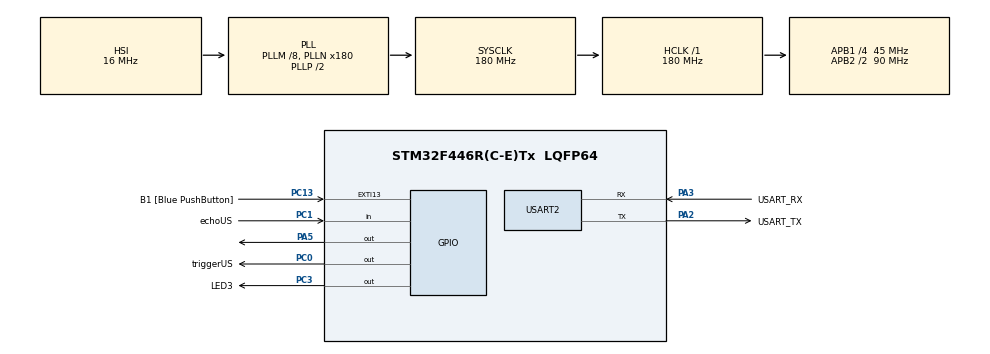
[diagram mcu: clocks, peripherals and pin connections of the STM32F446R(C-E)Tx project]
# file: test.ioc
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Mcu.Family=STM32F4
Mcu.Name=STM32F446R(C-E)Tx
Mcu.Package=LQFP64
NVIC.EXTI15_10_IRQn=true\:0\:4\:false\:false\:true\:true
NVIC.PriorityGroup=NVIC_PRIORITYGROUP_0
NVIC.USART2_IRQn=true\:0\:5\:false\:false\:true\:true
PA13.GPIO_Label=TMS
PA13.Mode=Serial_Wire
PA13.Signal=SYS_JTMS-SWDIO
PA14.GPIO_Label=TCK
PA14.Mode=Serial_Wire
PA14.Signal=SYS_JTCK-SWCLK
PA2.GPIO_Label=USART_TX
PA2.Mode=Asynchronous
PA2.Signal=USART2_TX
PA3.GPIO_Label=USART_RX
PA3.Mode=Asynchronous
PA3.Signal=USART2_RX
PA5.Signal=GPIO_Output
PB3.GPIO_Label=SWO
PB3.Signal=SYS_JTDO-SWO
PC0.GPIO_Label=triggerUS
PC0.Signal=GPIO_Output
PC1.GPIO_Label=echoUS
PC1.Signal=GPIO_Input
PC13.GPIO_Label=B1 [Blue PushButton]
PC13.GPIO_ModeDefaultEXTI=GPIO_MODE_IT_FALLING
PC13.Signal=GPXTI13
PC14-OSC32_IN.Mode=LSE-External-Oscillator
PC14-OSC32_IN.Signal=RCC_OSC32_IN
PC15-OSC32_OUT.Mode=LSE-External-Oscillator
PC15-OSC32_OUT.Signal=RCC_OSC32_OUT
PC3.GPIO_Label=LED3
PC3.Signal=GPIO_Output
PH0-OSC_IN.Mode=HSE-External-Oscillator
PH0-OSC_IN.Signal=RCC_OSC_IN
PH1-OSC_OUT.Mode=HSE-External-Oscillator
PH1-OSC_OUT.Signal=RCC_OSC_OUT
ProjectManager.HeapSize=0x200
ProjectManager.StackSize=0x400
ProjectManager.TargetToolchain=SW4STM32
RCC.48MHZClocksFreq_Value=84000000
RCC.AHBFreq_Value=180000000
RCC.APB1CLKDivider=RCC_HCLK_DIV4
RCC.APB1Freq_Value=45000000
RCC.APB1TimFreq_Value=90000000
RCC.APB2CLKDivider=RCC_HCLK_DIV2
RCC.APB2Freq_Value=90000000
RCC.APB2TimFreq_Value=180000000
RCC.CortexFreq_Value=180000000
RCC.FLatency-AdvancedSettings=FLASH_LATENCY_5
RCC.HCLKFreq_Value=180000000
RCC.HSE_VALUE=8000000
RCC.HSI_VALUE=16000000
RCC.PLLM=8
RCC.PLLN=180
RCC.SYSCLKFreq_VALUE=180000000
RCC.SYSCLKSource=RCC_SYSCLKSOURCE_PLLCLK
RCC.USBFreq_Value=180000000
RCC.VCOOutputFreq_Value=360000000
TIM2.Period=199
TIM2.Prescaler=90
USART2.VirtualMode=VM_ASYNC
VP_TIM2_VS_ClockSourceINT.Mode=Internal
board=NUCLEO-F446RE

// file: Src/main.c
/**
 ******************************************************************************
 * @file           : main.c
 * @brief          : Main program body
 ******************************************************************************
 ** This notice applies to any and all portions of this file
 * that are not between comment pairs USER CODE BEGIN and
 * USER CODE END. Other portions of this file, whether
 * inserted by the user or by software development tools
 * are owned by their respective copyright owners.
 *
 * COPYRIGHT(c) 2018 STMicroelectronics
 *
 * Redistribution and use in source and binary forms, with or without modification,
 * are permitted provided that the following conditions are met:
 *   1. Redistributions of source code must retain the above copyright notice,
 *      this list of conditions and the following disclaimer.
 *   2. Redistributions in binary form must reproduce the above copyright notice,
 *      this list of conditions and the following disclaimer in the documentation
 *      and/or other materials provided with the distribution.
 *   3. Neither the name of STMicroelectronics nor the names of its contributors
 *      may be used to endorse or promote products derived from this software
 *      without specific prior written permission.
 *
 * THIS SOFTWARE IS PROVIDED BY THE COPYRIGHT HOLDERS AND CONTRIBUTORS "AS IS"
 * AND ANY EXPRESS OR IMPLIED WARRANTIES, INCLUDING, BUT NOT LIMITED TO, THE
 * IMPLIED WARRANTIES OF MERCHANTABILITY AND FITNESS FOR A PARTICULAR PURPOSE ARE
 * DISCLAIMED. IN NO EVENT SHALL THE COPYRIGHT HOLDER OR CONTRIBUTORS BE LIABLE
 * FOR ANY DIRECT, INDIRECT, INCIDENTAL, SPECIAL, EXEMPLARY, OR CONSEQUENTIAL
 * DAMAGES (INCLUDING, BUT NOT LIMITED TO, PROCUREMENT OF SUBSTITUTE GOODS OR
 * SERVICES; LOSS OF USE, DATA, OR PROFITS; OR BUSINESS INTERRUPTION) HOWEVER
 * CAUSED AND ON ANY THEORY OF LIABILITY, WHETHER IN CONTRACT, STRICT LIABILITY,
 * OR TORT (INCLUDING NEGLIGENCE OR OTHERWISE) ARISING IN ANY WAY OUT OF THE USE
 * OF THIS SOFTWARE, EVEN IF ADVISED OF THE POSSIBILITY OF SUCH DAMAGE.
 *
 ******************************************************************************
 */
#include "main.h"
#include "stm32f4xx_hal.h"

TIM_HandleTypeDef htim2;

UART_HandleTypeDef huart2;
uint32_t timerValue;
uint32_t pulseWidth;
char buff[30];

/* USER CODE BEGIN PV */
/* Private variables ---------------------------------------------------------*/

/* USER CODE END PV */

void SystemClock_Config(void);
static void MX_GPIO_Init(void);
static void MX_USART2_UART_Init(void);
static void MX_TIM2_Init(void);

/* USER CODE BEGIN PFP */
/* Private function prototypes -----------------------------------------------*/

/* USER CODE END PFP */

int main(void)
{

	/* MCU Configuration----------------------------------------------------------*/

	/* Reset of all peripherals, Initializes the Flash interface and the Systick. */
	HAL_Init();

	/* Configure the system clock */
	SystemClock_Config();

	/* Initialize all configured peripherals */
	MX_GPIO_Init();
	MX_USART2_UART_Init();
	MX_TIM2_Init();
	/* USER CODE BEGIN 2 */
	HAL_GPIO_WritePin(triggerUS_GPIO_Port,triggerUS_Pin,GPIO_PIN_RESET);

	/* USER CODE END 2 */

	/* Infinite loop */
	/* USER CODE BEGIN WHILE */
	while (1)
	{

		//berikan trigger
		__HAL_TIM_SetCounter(&htim2,0);
		HAL_TIM_Base_Start(&htim2);
		HAL_GPIO_WritePin(triggerUS_GPIO_Port,triggerUS_Pin,GPIO_PIN_SET);
		while (__HAL_TIM_GetCounter(&htim2)<20);
		HAL_TIM_Base_Stop(&htim2);
		HAL_GPIO_WritePin(triggerUS_GPIO_Port,triggerUS_Pin,GPIO_PIN_RESET);

		while (!HAL_GPIO_ReadPin(echoUS_GPIO_Port,echoUS_Pin));
		__HAL_TIM_SetCounter(&htim2,0);
		HAL_TIM_Base_Start(&htim2);
		while (HAL_GPIO_ReadPin(echoUS_GPIO_Port,echoUS_Pin));
		HAL_TIM_Base_Stop(&htim2);
		pulseWidth=__HAL_TIM_GET_COUNTER(&htim2);
		pulseWidth= pulseWidth/58;
		sprintf(buff,"Distance : %d \n\r",(uint16_t)pulseWidth);
		HAL_UART_Transmit(&huart2,(uint8_t*)buff,sizeof(buff),1000);
		HAL_Delay(2000);
		/* USER CODE END WHILE */

	}

}

void SystemClock_Config(void)
{

	RCC_OscInitTypeDef RCC_OscInitStruct;
	RCC_ClkInitTypeDef RCC_ClkInitStruct;

	/**Configure the main internal regulator output voltage
	 */
	__HAL_RCC_PWR_CLK_ENABLE();

	__HAL_PWR_VOLTAGESCALING_CONFIG(PWR_REGULATOR_VOLTAGE_SCALE1);

	/**Initializes the CPU, AHB and APB busses clocks
	 */
	RCC_OscInitStruct.OscillatorType = RCC_OSCILLATORTYPE_HSI;
	RCC_OscInitStruct.HSIState = RCC_HSI_ON;
	RCC_OscInitStruct.HSICalibrationValue = 16;
	RCC_OscInitStruct.PLL.PLLState = RCC_PLL_ON;
	RCC_OscInitStruct.PLL.PLLSource = RCC_PLLSOURCE_HSI;
	RCC_OscInitStruct.PLL.PLLM = 8;
	RCC_OscInitStruct.PLL.PLLN = 180;
	RCC_OscInitStruct.PLL.PLLP = RCC_PLLP_DIV2;
	RCC_OscInitStruct.PLL.PLLQ = 2;
	RCC_OscInitStruct.PLL.PLLR = 2;
	if (HAL_RCC_OscConfig(&RCC_OscInitStruct) != HAL_OK)
	{
		_Error_Handler(__FILE__, __LINE__);
	}

	/**Activate the Over-Drive mode
	 */
	if (HAL_PWREx_EnableOverDrive() != HAL_OK)
	{
		_Error_Handler(__FILE__, __LINE__);
	}

	/**Initializes the CPU, AHB and APB busses clocks
	 */
	RCC_ClkInitStruct.ClockType = RCC_CLOCKTYPE_HCLK|RCC_CLOCKTYPE_SYSCLK
			|RCC_CLOCKTYPE_PCLK1|RCC_CLOCKTYPE_PCLK2;
	RCC_ClkInitStruct.SYSCLKSource = RCC_SYSCLKSOURCE_PLLCLK;
	RCC_ClkInitStruct.AHBCLKDivider = RCC_SYSCLK_DIV1;
	RCC_ClkInitStruct.APB1CLKDivider = RCC_HCLK_DIV4;
	RCC_ClkInitStruct.APB2CLKDivider = RCC_HCLK_DIV2;

	if (HAL_RCC_ClockConfig(&RCC_ClkInitStruct, FLASH_LATENCY_5) != HAL_OK)
	{
		_Error_Handler(__FILE__, __LINE__);
	}

	/**Configure the Systick interrupt time
	 */
	HAL_SYSTICK_Config(HAL_RCC_GetHCLKFreq()/1000);

	/**Configure the Systick
	 */
	HAL_SYSTICK_CLKSourceConfig(SYSTICK_CLKSOURCE_HCLK);

	/* SysTick_IRQn interrupt configuration */
	HAL_NVIC_SetPriority(SysTick_IRQn, 0, 0);
}

/* TIM2 init function */
static void MX_TIM2_Init(void)
{

	TIM_ClockConfigTypeDef sClockSourceConfig;
	TIM_MasterConfigTypeDef sMasterConfig;

	htim2.Instance = TIM2;
	htim2.Init.Prescaler = 90;
	htim2.Init.CounterMode = TIM_COUNTERMODE_UP;
	htim2.Init.Period = 0xFFFFFFFF;
	htim2.Init.ClockDivision = TIM_CLOCKDIVISION_DIV1;
	if (HAL_TIM_Base_Init(&htim2) != HAL_OK)
	{
		_Error_Handler(__FILE__, __LINE__);
	}

	sClockSourceConfig.ClockSource = TIM_CLOCKSOURCE_INTERNAL;
	if (HAL_TIM_ConfigClockSource(&htim2, &sClockSourceConfig) != HAL_OK)
	{
		_Error_Handler(__FILE__, __LINE__);
	}

	sMasterConfig.MasterOutputTrigger = TIM_TRGO_RESET;
	sMasterConfig.MasterSlaveMode = TIM_MASTERSLAVEMODE_DISABLE;
	if (HAL_TIMEx_MasterConfigSynchronization(&htim2, &sMasterConfig) != HAL_OK)
	{
		_Error_Handler(__FILE__, __LINE__);
	}

}

/* USART2 init function */
static void MX_USART2_UART_Init(void)
{

	huart2.Instance = USART2;
	huart2.Init.BaudRate = 115200;
	huart2.Init.WordLength = UART_WORDLENGTH_8B;
	huart2.Init.StopBits = UART_STOPBITS_1;
	huart2.Init.Parity = UART_PARITY_NONE;
	huart2.Init.Mode = UART_MODE_TX_RX;
	huart2.Init.HwFlowCtl = UART_HWCONTROL_NONE;
	huart2.Init.OverSampling = UART_OVERSAMPLING_16;
	if (HAL_UART_Init(&huart2) != HAL_OK)
	{
		_Error_Handler(__FILE__, __LINE__);
	}

}

/** Configure pins as
 * Analog
 * Input
 * Output
 * EVENT_OUT
 * EXTI
 */
static void MX_GPIO_Init(void)
{

	GPIO_InitTypeDef GPIO_InitStruct;

	/* GPIO Ports Clock Enable */
	__HAL_RCC_GPIOC_CLK_ENABLE();
	__HAL_RCC_GPIOH_CLK_ENABLE();
	__HAL_RCC_GPIOA_CLK_ENABLE();
	__HAL_RCC_GPIOB_CLK_ENABLE();

	/*Configure GPIO pin Output Level */
	HAL_GPIO_WritePin(GPIOC, triggerUS_Pin|LED3_Pin, GPIO_PIN_RESET);

	/*Configure GPIO pin Output Level */
	HAL_GPIO_WritePin(GPIOA, GPIO_PIN_5, GPIO_PIN_RESET);

	/*Configure GPIO pin : B1_Pin */
	GPIO_InitStruct.Pin = B1_Pin;
	GPIO_InitStruct.Mode = GPIO_MODE_IT_FALLING;
	GPIO_InitStruct.Pull = GPIO_NOPULL;
	HAL_GPIO_Init(B1_GPIO_Port, &GPIO_InitStruct);

	/*Configure GPIO pins : triggerUS_Pin LED3_Pin */
	GPIO_InitStruct.Pin = triggerUS_Pin|LED3_Pin;
	GPIO_InitStruct.Mode = GPIO_MODE_OUTPUT_PP;
	GPIO_InitStruct.Pull = GPIO_NOPULL;
	GPIO_InitStruct.Speed = GPIO_SPEED_FREQ_LOW;
	HAL_GPIO_Init(GPIOC, &GPIO_InitStruct);

	/*Configure GPIO pin : echoUS_Pin */
	GPIO_InitStruct.Pin = echoUS_Pin;
	GPIO_InitStruct.Mode = GPIO_MODE_INPUT;
	GPIO_InitStruct.Pull = GPIO_NOPULL;
	HAL_GPIO_Init(echoUS_GPIO_Port, &GPIO_InitStruct);

	/*Configure GPIO pin : PA5 */
	GPIO_InitStruct.Pin = GPIO_PIN_5;
	GPIO_InitStruct.Mode = GPIO_MODE_OUTPUT_PP;
	GPIO_InitStruct.Pull = GPIO_NOPULL;
	GPIO_InitStruct.Speed = GPIO_SPEED_FREQ_LOW;
	HAL_GPIO_Init(GPIOA, &GPIO_InitStruct);

	/* EXTI interrupt init*/
	HAL_NVIC_SetPriority(EXTI15_10_IRQn, 0, 4);
	HAL_NVIC_EnableIRQ(EXTI15_10_IRQn);

}

void _Error_Handler(char *file, int line)
{
	while(1)
	{
	}
}

/************************ (C) COPYRIGHT STMicroelectronics *****END OF FILE****/
